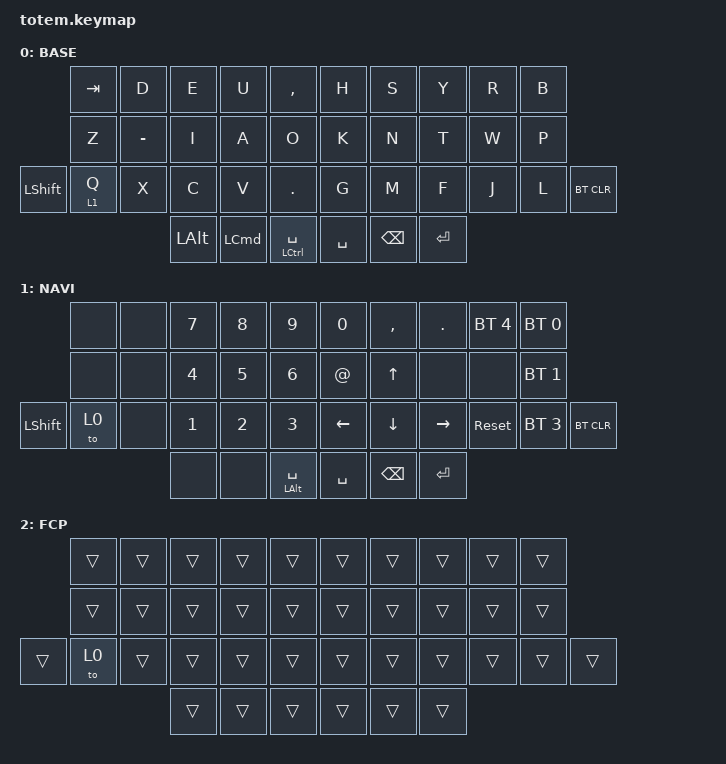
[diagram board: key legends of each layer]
//
//                                                        ▀▀▀▀▀     ▀▀▀▀▀          ▀▀█▀▀
//                                                        ▄▀▀▀▄  ▄  ▄▀▀▀▄  ▄  ▄▀▀▀▄  █  ▄▀▀▀▄
//                                                        █   █  █  █   █  █  █   █  █  █   █
//                                                         ▀▀▀   █   ▀▀▀   █   ▀▀▀   ▀   ▀▀▀
//                                                               █      ▄▄▄█▄▄▄    █   █  
//                                                               ▀      █  █  █     █▄█
//                                                             ▀▀▀▀▀    █  █  █      ▀
//                                                                      ▀  ▀  ▀
//
// ▄▄▄▄▄▄▄▄▄▄▄▄▄▄▄▄▄▄▄▄▄▄▄▄▄▄▄▄▄▄▄▄▄▄▄▄▄▄▄▄▄▄▄▄▄▄▄▄▄▄▄▄▄▄▄▄▄▄▄▄▄▄▄▄▄▄▄▄▄▄▄▄▄▄▄▄▄▄▄▄▄▄▄▄▄▄▄▄▄▄▄▄▄▄▄▄▄▄▄▄▄▄▄▄▄▄▄▄▄▄▄▄▄▄▄▄▄▄▄▄▄▄▄▄▄▄▄▄▄▄▄▄▄▄▄▄▄▄▄▄▄▄▄▄▄▄▄▄▄

#include <behaviors.dtsi>
#include <dt-bindings/zmk/bt.h>
#include <dt-bindings/zmk/keys.h>

#define BASE 0
#define NAV  1
#define SYM  2
#define ADJ  3
#define TVP1 4
#define TVP2 5

&mt {
    quick-tap-ms = <100>;
    global-quick-tap;
    flavor = "tap-preferred";
    tapping-term-ms = <170>;
};

/ {
    combos {
        compatible = "zmk,combos";

        pl {
            bindings = <&kp LEFT_PARENTHESIS>;
            key-positions = <5 6>;
            timeout-ms = <32>;
        };

        pr {
            bindings = <&kp RIGHT_PARENTHESIS>;
            key-positions = <6 7>;
            timeout-ms = <32>;
        };

        kl {
            bindings = <&kp LEFT_BRACKET>;
            key-positions = <7 8>;
            timeout-ms = <32>;
        };

        kr {
            bindings = <&kp RIGHT_BRACKET>;
            key-positions = <9 8>;
            timeout-ms = <32>;
        };

        up {
            bindings = <&kp UP_ARROW>;
            key-positions = <13 14>;
            timeout-ms = <32>;
        };

        dw {
            bindings = <&kp DOWN>;
            key-positions = <24 25>;
            timeout-ms = <32>;
        };

        lt {
            bindings = <&kp LEFT_ARROW>;
            key-positions = <13 24>;
            timeout-ms = <32>;
        };

        ri {
            bindings = <&kp RIGHT>;
            key-positions = <14 25>;
            timeout-ms = <32>;
        };

        q {
            bindings = <&kp QUESTION>;
            key-positions = <9 19>;
            timeout-ms = <32>;
        };

        es {
            bindings = <&kp ESCAPE>;
            key-positions = <1 2>;
            timeout-ms = <32>;
        };

        ss4 {
            bindings = <&kp LG(LS(NUMBER_4))>;
            key-positions = <10 22>;
            timeout-ms = <32>;
        };

        ppl {
            bindings = <&kp CAPSLOCK>;
            key-positions = <10 0>;
            timeout-ms = <32>;
        };

        btc {
            bindings = <&bt BT_CLR_ALL>;
            key-positions = <4 3>;
            timeout-ms = <32>;
        };
    };

    behaviors {
        td0: td0 {
            compatible = "zmk,behavior-tap-dance";
            label = "TD0";
            #binding-cells = <0>;
            bindings = <&mt0 1 SPACE>, <&mt LCTRL ESCAPE>;

            tapping-term-ms = <170>;
        };

        mt0: mt0 {
            compatible = "zmk,behavior-hold-tap";
            label = "MT0";
            bindings = <&mo>, <&kp>;

            #binding-cells = <2>;
            tapping-term-ms = <170>;
            hold-trigger-key-positions = <33>;
        };

        mt1: mt1 {
            compatible = "zmk,behavior-hold-tap";
            label = "MT1";
            bindings = <&mo>, <&kp>;

            #binding-cells = <2>;
            tapping-term-ms = <170>;
            hold-trigger-key-positions = <36>;
        };

        td1: td1 {
            compatible = "zmk,behavior-tap-dance";
            label = "TD1";
            #binding-cells = <0>;
            bindings = <&mt1 1 SPACE>, <&mt CAPSLOCK RSHFT>;

            tapping-term-ms = <170>;
        };

        td2: td2 {
            compatible = "zmk,behavior-hold-tap";
            label = "TD2";
            bindings = <&mo>, <&kp>;

            #binding-cells = <2>;
            tapping-term-ms = <200>;
            hold-trigger-key-positions = <34>;
        };

        td3: td3 {
            compatible = "zmk,behavior-tap-dance";
            label = "TD3";
            #binding-cells = <0>;
            bindings = <&mt RS(P) P>, <&mt QUESTION SLASH>;
        };

        td4: td4 {
            compatible = "zmk,behavior-tap-dance";
            label = "TD4";
            #binding-cells = <0>;
            bindings = <&mt COLON SEMICOLON>, <&mt SQT DOUBLE_QUOTES>;

            tapping-term-ms = <200>;
        };

        td5: td5 {
            compatible = "zmk,behavior-tap-dance";
            label = "TD5";
            #binding-cells = <0>;
            bindings = <&mt LS(Q) Q>, <&mt TILDE GRAVE>;

            tapping-term-ms = <200>;
        };
    };

    keymap {
        compatible = "zmk,keymap";

        // ▄▄▄▄▄▄▄▄▄▄▄▄▄▄▄▄▄▄▄▄▄▄▄▄▄▄▄▄▄▄▄▄▄▄▄▄▄▄▄▄▄▄▄▄▄▄▄▄▄▄▄▄▄▄▄▄▄▄▄▄▄▄▄▄▄▄▄▄▄▄▄▄▄▄▄▄▄▄▄▄▄▄▄▄▄▄▄▄▄▄▄▄▄▄▄▄▄▄▄▄▄▄▄▄▄▄▄▄▄▄▄▄▄▄▄▄▄▄▄▄▄▄▄▄▄▄▄▄▄▄▄▄▄▄▄▄▄▄▄▄▄▄▄▄▄▄▄▄▄

        layer01 {
            // ┏━━━━━━━━━━━━━━━━━━━━━━━━━━━━━━━━━━━━━━━┓

            label = "BASE";

            // ┗━━━━━━━━━━━━━━━━━━━━━━━━━━━━━━━━━━━━━━━┛
            //             ┏━━━━━━━━━━━┳━━━━━━━━━━━┳━━━━━━━━━━━┳━━━━━━━━━━━┳━━━━━━━━━━━┓   ┏━━━━━━━━━━━┳━━━━━━━━━━━┳━━━━━━━━━━━┳━━━━━━━━━━━┳━━━━━━━━━━━┓
            //             ┃     Q     ┃     W     ┃     F     ┃     P     ┃     G     ┃   ┃     J     ┃     L     ┃     U     ┃     Y     ┃     ;     ┃
            //             ┣━━━━━━━━━━━╋━━━━━━━━━━━╋━━━━━━━━━━━╋━━━━━━━━━━━╋━━━━━━━━━━━┫   ┣━━━━━━━━━━━╋━━━━━━━━━━━╋━━━━━━━━━━━╋━━━━━━━━━━━╋━━━━━━━━━━━┫
            //             ┃     A     ┃     R     ┃     S     ┃     T     ┃     D     ┃   ┃     H     ┃     N     ┃     E     ┃     I     ┃     O     ┃
            // ┏━━━━━━━━━━━╋━━━━━━━━━━━╋━━━━━━━━━━━╋━━━━━━━━━━━╋━━━━━━━━━━━╋━━━━━━━━━━━┫   ┣━━━━━━━━━━━╋━━━━━━━━━━━╋━━━━━━━━━━━╋━━━━━━━━━━━╋━━━━━━━━━━━╋━━━━━━━━━━━┓
            // ┃     Q     ┃     Z     ┃     X     ┃     C     ┃     V     ┃     B     ┃   ┃     K     ┃     M     ┃     ,     ┃     .     ┃     /     ┃     \     ┃
            // ┗━━━━━━━━━━━┻━━━━━━━━━━━┻━━━━━━━━━━━╋━━━━━━━━━━━╋━━━━━━━━━━━╋━━━━━━━━━━━┫   ┣━━━━━━━━━━━╋━━━━━━━━━━━╋━━━━━━━━━━━╋━━━━━━━━━━━┻━━━━━━━━━━━┻━━━━━━━━━━━┛
            //                                     ┃    DEL    ┃    TAB    ┃    SPC    ┃   ┃   ENTER   ┃           ┃   BSPC    ┃
            //                                     ┗━━━━━━━━━━━┻━━━━━━━━━━━┻━━━━━━━━━━━┛   ┗━━━━━━━━━━━┻━━━━━━━━━━━┻━━━━━━━━━━━┛

            bindings = <
                &kp TAB  &kp D      &kp E         &kp U     &kp COMMA        &kp H      &kp S          &kp Y    &kp R  &kp B
                &kp Z    &kp MINUS  &kp I         &kp A     &kp O            &kp K      &kp N          &kp T    &kp W  &kp P
&kp LEFT_SHIFT  &lt 1 Q  &kp X      &kp C         &kp V     &kp PERIOD       &kp G      &kp M          &kp F    &kp J  &kp L  &bt BT_CLR
                                    &kp LEFT_ALT  &kp LCMD  &mt LCTRL SPACE  &kp SPACE  &kp BACKSPACE  &kp RET
            >;
        };

        // ▄▄▄▄▄▄▄▄▄▄▄▄▄▄▄▄▄▄▄▄▄▄▄▄▄▄▄▄▄▄▄▄▄▄▄▄▄▄▄▄▄▄▄▄▄▄▄▄▄▄▄▄▄▄▄▄▄▄▄▄▄▄▄▄▄▄▄▄▄▄▄▄▄▄▄▄▄▄▄▄▄▄▄▄▄▄▄▄▄▄▄▄▄▄▄▄▄▄▄▄▄▄▄▄▄▄▄▄▄▄▄▄▄▄▄▄▄▄▄▄▄▄▄▄▄▄▄▄▄▄▄▄▄▄▄▄▄▄▄▄▄▄▄▄▄▄▄▄▄

        layer02 {
            // ┏━━━━━━━━━━━━━━━━━━━━━━━━━━━━━━━━━━━━━━━┓

            label = "NAVI";

            // ┗━━━━━━━━━━━━━━━━━━━━━━━━━━━━━━━━━━━━━━━┛
            //             ┏━━━━━━━━━━━┳━━━━━━━━━━━┳━━━━━━━━━━━┳━━━━━━━━━━━┳━━━━━━━━━━━┓   ┏━━━━━━━━━━━┳━━━━━━━━━━━┳━━━━━━━━━━━┳━━━━━━━━━━━┳━━━━━━━━━━━┓
            //             ┃           ┃           ┃     UP    ┃           ┃     {     ┃   ┃     }     ┃     7     ┃     8     ┃     9     ┃     +     ┃
            //             ┣━━━━━━━━━━━╋━━━━━━━━━━━╋━━━━━━━━━━━╋━━━━━━━━━━━╋━━━━━━━━━━━┫   ┣━━━━━━━━━━━╋━━━━━━━━━━━╋━━━━━━━━━━━╋━━━━━━━━━━━╋━━━━━━━━━━━┫
            //             ┃   SHIFT   ┃   LEFT    ┃    DOWN   ┃   RIGHT   ┃     [     ┃   ┃     ]     ┃     4     ┃     5     ┃     6     ┃     -     ┃
            // ┏━━━━━━━━━━━╋━━━━━━━━━━━╋━━━━━━━━━━━╋━━━━━━━━━━━╋━━━━━━━━━━━╋━━━━━━━━━━━┫   ┣━━━━━━━━━━━╋━━━━━━━━━━━╋━━━━━━━━━━━╋━━━━━━━━━━━╋━━━━━━━━━━━╋━━━━━━━━━━━┓
            // ┃           ┃           ┃   P UP    ┃  C LOCK   ┃  P DOWN   ┃     (     ┃   ┃     )     ┃     1     ┃     2     ┃     3     ┃     *     ┃           ┃
            // ┗━━━━━━━━━━━┻━━━━━━━━━━━┻━━━━━━━━━━━╋━━━━━━━━━━━╋━━━━━━━━━━━╋━━━━━━━━━━━┫   ┣━━━━━━━━━━━╋━━━━━━━━━━━╋━━━━━━━━━━━╋━━━━━━━━━━━┻━━━━━━━━━━━┻━━━━━━━━━━━┛
            //                                     ┃           ┃    TAB    ┃    SPC    ┃   ┃    DEL    ┃     0     ┃           ┃
            //                                     ┗━━━━━━━━━━━┻━━━━━━━━━━━┻━━━━━━━━━━━┛   ┗━━━━━━━━━━━┻━━━━━━━━━━━┻━━━━━━━━━━━┛

            bindings = <
                &none  &none  &kp N7        &kp N8        &kp N9              &kp N0          &kp COMMA      &kp PERIOD       &bt BT_SEL 4  &bt BT_SEL 0
                &none  &none  &kp NUMBER_4  &kp N5        &kp NUMBER_6        &kp AT          &kp UP_ARROW   &none            &none         &bt BT_SEL 1
&kp LEFT_SHIFT  &to 0  &none  &kp NUMBER_1  &kp NUMBER_2  &kp NUMBER_3        &kp LEFT_ARROW  &kp DOWN       &kp RIGHT_ARROW  &sys_reset    &bt BT_SEL 3  &bt BT_CLR
                              &none         &none         &mt LEFT_ALT SPACE  &kp SPACE       &kp BACKSPACE  &kp RET
            >;
        };

        FCP {
            bindings = <
        &trans  &trans  &trans  &trans  &trans  &trans  &trans  &trans  &trans  &trans
        &trans  &trans  &trans  &trans  &trans  &trans  &trans  &trans  &trans  &trans
&trans  &to 0   &trans  &trans  &trans  &trans  &trans  &trans  &trans  &trans  &trans  &trans
                        &trans  &trans  &trans  &trans  &trans  &trans
            >;
        };

        // ▄▄▄▄▄▄▄▄▄▄▄▄▄▄▄▄▄▄▄▄▄▄▄▄▄▄▄▄▄▄▄▄▄▄▄▄▄▄▄▄▄▄▄▄▄▄▄▄▄▄▄▄▄▄▄▄▄▄▄▄▄▄▄▄▄▄▄▄▄▄▄▄▄▄▄▄▄▄▄▄▄▄▄▄▄▄▄▄▄▄▄▄▄▄▄▄▄▄▄▄▄▄▄▄▄▄▄▄▄▄▄▄▄▄▄▄▄▄▄▄▄▄▄▄▄▄▄▄▄▄▄▄▄▄▄▄▄▄▄▄▄▄▄▄▄▄▄▄▄
        // ▄▄▄▄▄▄▄▄▄▄▄▄▄▄▄▄▄▄▄▄▄▄▄▄▄▄▄▄▄▄▄▄▄▄▄▄▄▄▄▄▄▄▄▄▄▄▄▄▄▄▄▄▄▄▄▄▄▄▄▄▄▄▄▄▄▄▄▄▄▄▄▄▄▄▄▄▄▄▄▄▄▄▄▄▄▄▄▄▄▄▄▄▄▄▄▄▄▄▄▄▄▄▄▄▄▄▄▄▄▄▄▄▄▄▄▄▄▄▄▄▄▄▄▄▄▄▄▄▄▄▄▄▄▄▄▄▄▄▄▄▄▄▄▄▄▄▄▄▄
        // ▄▄▄▄▄▄▄▄▄▄▄▄▄▄▄▄▄▄▄▄▄▄▄▄▄▄▄▄▄▄▄▄▄▄▄▄▄▄▄▄▄▄▄▄▄▄▄▄▄▄▄▄▄▄▄▄▄▄▄▄▄▄▄▄▄▄▄▄▄▄▄▄▄▄▄▄▄▄▄▄▄▄▄▄▄▄▄▄▄▄▄▄▄▄▄▄▄▄▄▄▄▄▄▄▄▄▄▄▄▄▄▄▄▄▄▄▄▄▄▄▄▄▄▄▄▄▄▄▄▄▄▄▄▄▄▄▄▄▄▄▄▄▄▄▄▄▄▄▄
        // ▄▄▄▄▄▄▄▄▄▄▄▄▄▄▄▄▄▄▄▄▄▄▄▄▄▄▄▄▄▄▄▄▄▄▄▄▄▄▄▄▄▄▄▄▄▄▄▄▄▄▄▄▄▄▄▄▄▄▄▄▄▄▄▄▄▄▄▄▄▄▄▄▄▄▄▄▄▄▄▄▄▄▄▄▄▄▄▄▄▄▄▄▄▄▄▄▄▄▄▄▄▄▄▄▄▄▄▄▄▄▄▄▄▄▄▄▄▄▄▄▄▄▄▄▄▄▄▄▄▄▄▄▄▄▄▄▄▄▄▄▄▄▄▄▄▄▄▄▄
    };
};
